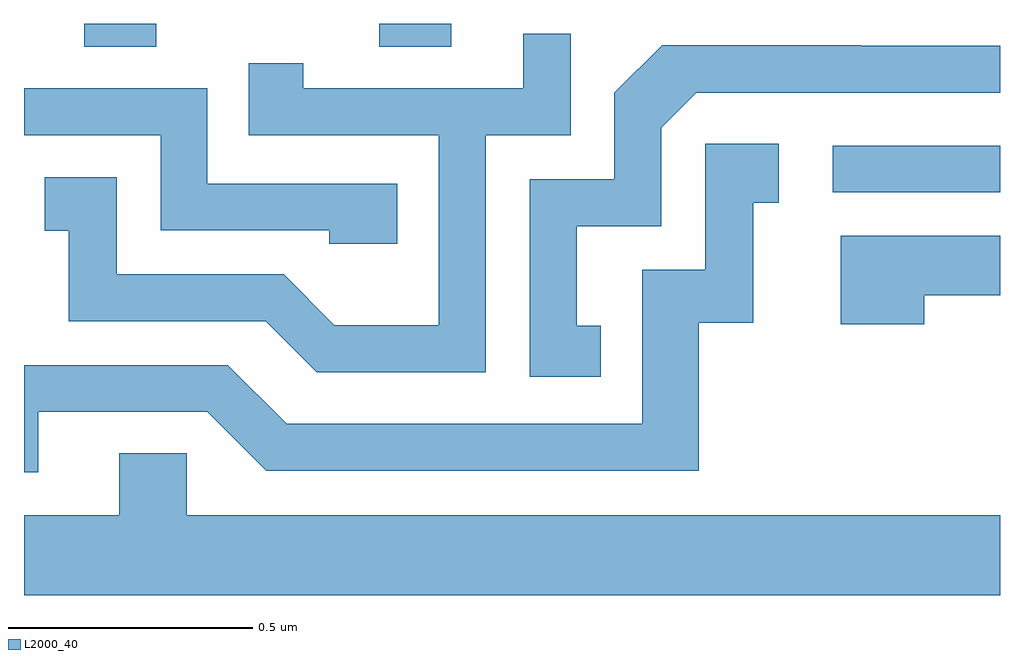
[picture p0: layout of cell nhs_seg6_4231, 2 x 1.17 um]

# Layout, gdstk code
import gdstk
lib = gdstk.Library(unit=1e-6, precision=1e-09)
def R(c, l, rs):  # rectangles x0, y0, x1, y1
    for r in rs: c.add(gdstk.rectangle(r[:2], r[2:], *l))
def P(c, l, *ps):  # polygons
    for p in ps: c.add(gdstk.Polygon(p, *l))
L2000_40 = (2000, 40)

nhs_seg6_4231 = lib.new_cell('nhs_seg6_4231')
R(nhs_seg6_4231, L2000_40, [(168.657,956.154,169,956.25), (167.123,956.452,167.271,956.5), (167.728,956.452,167.875,956.5)])
P(nhs_seg6_4231, L2000_40, [(167.946,956.271),(168.12,956.271),(168.12,956.479),(168.023,956.479),(168.023,956.367),(167.572,956.367),(167.572,956.419),(167.461,956.419),(167.461,956.271),(167.85,956.271),(167.85,955.882),(167.636,955.882),(167.532,955.986),(167.19,955.986),(167.19,956.185),(167.043,956.185),(167.043,956.075),(167.092,956.075),(167.092,955.89),(167.495,955.89),(167.6,955.785),(167.946,955.785)],
  [(168.182,955.881),(168.133,955.881),(168.133,956.085),(168.306,956.085),(168.306,956.286),(168.378,956.358),(169,956.358),(169,956.454),(168.716,956.454),(168.716,956.456),(168.308,956.456),(168.21,956.358),(168.21,956.181),(168.036,956.181),(168.036,955.776),(168.182,955.776)],
  [(167.765,956.172),(167.376,956.172),(167.376,956.367),(167,956.367),(167,956.271),(167.28,956.271),(167.28,956.076),(167.625,956.076),(167.625,956.049),(167.765,956.049)],
  [(167.029,955.704),(167.376,955.704),(167.496,955.584),(168.383,955.584),(168.383,955.887),(168.494,955.887),(168.494,956.133),(168.547,956.133),(168.547,956.254),(168.396,956.254),(168.396,955.995),(168.267,955.995),(168.267,955.68),(167.538,955.68),(167.418,955.8),(167,955.8),(167,955.581),(167.029,955.581)],
  [(168.845,955.943),(169,955.943),(169,956.065),(168.674,956.065),(168.674,955.884),(168.845,955.884)],
  [(169,955.492),(167.334,955.492),(167.334,955.619),(167.195,955.619),(167.195,955.492),(167,955.492),(167,955.328),(169,955.328)])

lib.write_gds('nhs_seg6_4231.gds')
